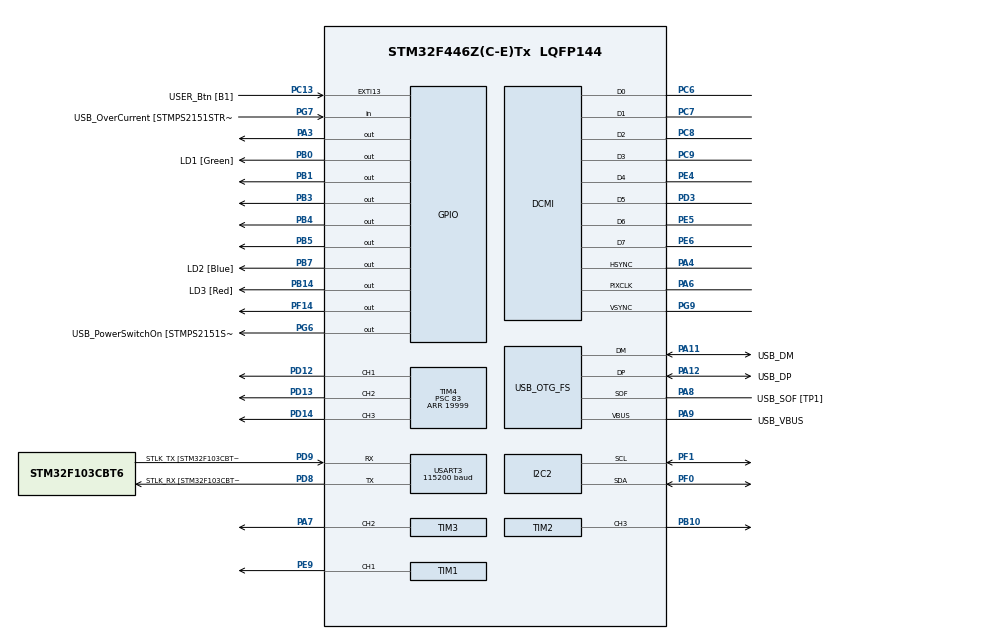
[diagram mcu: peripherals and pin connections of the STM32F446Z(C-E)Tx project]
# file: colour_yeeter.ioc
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DCMI.CaptureRate=DCMI_CR_ALL_FRAME
DCMI.PCKPolarity=DCMI_PCKPOLARITY_RISING
DCMI.VSPolarity=DCMI_VSPOLARITY_HIGH
Dma.DCMI.0.Direction=DMA_PERIPH_TO_MEMORY
Dma.DCMI.0.FIFOMode=DMA_FIFOMODE_ENABLE
Dma.DCMI.0.FIFOThreshold=DMA_FIFO_THRESHOLD_FULL
Dma.DCMI.0.Instance=DMA2_Stream1
Dma.DCMI.0.MemBurst=DMA_MBURST_SINGLE
Dma.DCMI.0.MemDataAlignment=DMA_MDATAALIGN_WORD
Dma.DCMI.0.MemInc=DMA_MINC_ENABLE
Dma.DCMI.0.Mode=DMA_CIRCULAR
Dma.DCMI.0.PeriphBurst=DMA_PBURST_SINGLE
Dma.DCMI.0.PeriphDataAlignment=DMA_PDATAALIGN_WORD
Dma.DCMI.0.PeriphInc=DMA_PINC_DISABLE
Dma.DCMI.0.Priority=DMA_PRIORITY_HIGH
Dma.Request0=DCMI
Dma.Request1=USART3_TX
Dma.USART3_TX.1.Direction=DMA_MEMORY_TO_PERIPH
Dma.USART3_TX.1.FIFOMode=DMA_FIFOMODE_ENABLE
Dma.USART3_TX.1.FIFOThreshold=DMA_FIFO_THRESHOLD_FULL
Dma.USART3_TX.1.Instance=DMA1_Stream3
Dma.USART3_TX.1.MemBurst=DMA_MBURST_SINGLE
Dma.USART3_TX.1.MemDataAlignment=DMA_MDATAALIGN_BYTE
Dma.USART3_TX.1.MemInc=DMA_MINC_ENABLE
Dma.USART3_TX.1.Mode=DMA_NORMAL
Dma.USART3_TX.1.PeriphBurst=DMA_PBURST_SINGLE
Dma.USART3_TX.1.PeriphDataAlignment=DMA_PDATAALIGN_BYTE
Dma.USART3_TX.1.PeriphInc=DMA_PINC_DISABLE
Dma.USART3_TX.1.Priority=DMA_PRIORITY_LOW
Mcu.Family=STM32F4
Mcu.Name=STM32F446Z(C-E)Tx
Mcu.Package=LQFP144
NVIC.DCMI_IRQn=true\:0\:0\:false\:false\:true\:true\:true\:true
NVIC.DMA1_Stream3_IRQn=true\:0\:0\:false\:false\:true\:false\:true\:true
NVIC.DMA2_Stream1_IRQn=true\:0\:0\:false\:false\:true\:false\:true\:true
NVIC.EXTI15_10_IRQn=true\:0\:0\:false\:false\:true\:true\:true\:true
NVIC.PriorityGroup=NVIC_PRIORITYGROUP_4
NVIC.TIM6_DAC_IRQn=true\:0\:0\:false\:false\:true\:true\:true\:true
NVIC.USART3_IRQn=true\:0\:0\:false\:false\:true\:true\:true\:true
PA10.GPIO_Label=USB_ID
PA10.Signal=USB_OTG_FS_ID
PA11.GPIO_Label=USB_DM
PA11.Mode=Device_Only
PA11.Signal=USB_OTG_FS_DM
PA12.GPIO_Label=USB_DP
PA12.Mode=Device_Only
PA12.Signal=USB_OTG_FS_DP
PA13.GPIO_Label=TMS
PA13.Mode=Serial_Wire
PA13.Signal=SYS_JTMS-SWDIO
PA14.GPIO_Label=TCK
PA14.Mode=Serial_Wire
PA14.Signal=SYS_JTCK-SWCLK
PA3.Signal=GPIO_Output
PA4.Mode=Slave_8_bits_External_Synchro
PA4.Signal=DCMI_HSYNC
PA6.Mode=Slave_8_bits_External_Synchro
PA6.Signal=DCMI_PIXCLK
PA7.Signal=S_TIM3_CH2
PA8.GPIO_Label=USB_SOF [TP1]
PA8.Mode=Activate_SOF_FS
PA8.Signal=USB_OTG_FS_SOF
PA9.GPIO_Label=USB_VBUS
PA9.Mode=Activate_VBUS
PA9.Signal=USB_OTG_FS_VBUS
PB0.GPIO_Label=LD1 [Green]
PB0.Signal=GPIO_Output
PB1.Signal=GPIO_Output
PB10.Signal=S_TIM2_CH3
PB14.GPIO_Label=LD3 [Red]
PB14.Signal=GPIO_Output
PB3.Signal=GPIO_Output
PB4.Signal=GPIO_Output
PB5.Signal=GPIO_Output
PB7.GPIO_Label=LD2 [Blue]
PB7.Signal=GPIO_Output
PC13.GPIO_Label=USER_Btn [B1]
PC13.Signal=GPXTI13
PC14-OSC32_IN.Mode=LSE-External-Oscillator
PC14-OSC32_IN.Signal=RCC_OSC32_IN
PC15-OSC32_OUT.Mode=LSE-External-Oscillator
PC15-OSC32_OUT.Signal=RCC_OSC32_OUT
PC6.Mode=Slave_8_bits_External_Synchro
PC6.Signal=DCMI_D0
PC7.Mode=Slave_8_bits_External_Synchro
PC7.Signal=DCMI_D1
PC8.Mode=Slave_8_bits_External_Synchro
PC8.Signal=DCMI_D2
PC9.Mode=Slave_8_bits_External_Synchro
PC9.Signal=DCMI_D3
PD12.Signal=S_TIM4_CH1
PD13.Signal=S_TIM4_CH2
PD14.Signal=S_TIM4_CH3
PD3.Mode=Slave_8_bits_External_Synchro
PD3.Signal=DCMI_D5
PD8.GPIO_Label=STLK_RX [STM32F103CBT6_PA3]
PD8.Mode=Asynchronous
PD8.Signal=USART3_TX
PD9.GPIO_Label=STLK_TX [STM32F103CBT6_PA2]
PD9.Mode=Asynchronous
PD9.Signal=USART3_RX
PE4.Mode=Slave_8_bits_External_Synchro
PE4.Signal=DCMI_D4
PE5.Mode=Slave_8_bits_External_Synchro
PE5.Signal=DCMI_D6
PE6.Mode=Slave_8_bits_External_Synchro
PE6.Signal=DCMI_D7
PE9.Signal=S_TIM1_CH1
PF0.Mode=I2C
PF0.Signal=I2C2_SDA
PF1.Mode=I2C
PF1.Signal=I2C2_SCL
PF14.Signal=GPIO_Output
PG6.GPIO_Label=USB_PowerSwitchOn [STMPS2151STR_EN]
PG6.Signal=GPIO_Output
PG7.GPIO_Label=USB_OverCurrent [STMPS2151STR_FAULT]
PG7.Signal=GPIO_Input
PG9.Mode=Slave_8_bits_External_Synchro
PG9.Signal=DCMI_VSYNC
PH0-OSC_IN.GPIO_Label=MCO [STM32F103CBT6_PA8]
PH0-OSC_IN.Mode=HSE-External-Clock-Source
PH0-OSC_IN.Signal=RCC_OSC_IN
PH1-OSC_OUT.Mode=HSE-External-Clock-Source
PH1-OSC_OUT.Signal=RCC_OSC_OUT
ProjectManager.HeapSize=0x200
ProjectManager.StackSize=0x400
ProjectManager.TargetToolchain=MDK-ARM V5.32
RCC.48MHZClocksFreq_Value=24000000
RCC.AHBFreq_Value=168000000
RCC.APB1CLKDivider=RCC_HCLK_DIV4
RCC.APB1Freq_Value=42000000
RCC.APB1TimFreq_Value=84000000
RCC.APB2CLKDivider=RCC_HCLK_DIV2
RCC.APB2Freq_Value=84000000
RCC.APB2TimFreq_Value=168000000
RCC.CortexFreq_Value=168000000
RCC.HCLKFreq_Value=168000000
RCC.HSE_VALUE=8000000
RCC.HSI_VALUE=16000000
RCC.PLLM=4
RCC.PLLMUL=RCC_PLL_MUL9
RCC.PLLN=168
RCC.PLLQ=7
RCC.PRESCALERUSB=RCC_USBCLKSOURCE_PLL_DIV1_5
RCC.SYSCLKFreq_VALUE=168000000
RCC.SYSCLKSource=RCC_SYSCLKSOURCE_PLLCLK
RCC.SYSCLKSourceVirtual=RCC_SYSCLKSOURCE_PLLCLK
RCC.USBFreq_Value=48000000
RCC.VCOOutputFreq_Value=336000000
SH.S_TIM1_CH1.0=TIM1_CH1,PWM Generation1 CH1
SH.S_TIM2_CH3.0=TIM2_CH3,PWM Generation3 CH3
SH.S_TIM3_CH2.0=TIM3_CH2,PWM Generation2 CH2
SH.S_TIM4_CH1.0=TIM4_CH1,PWM Generation1 CH1
SH.S_TIM4_CH2.0=TIM4_CH2,PWM Generation2 CH2
SH.S_TIM4_CH3.0=TIM4_CH3,PWM Generation3 CH3
TIM1.AutoReloadPreload=TIM_AUTORELOAD_PRELOAD_ENABLE
TIM1.Channel-PWM\ Generation1\ CH1=TIM_CHANNEL_1
TIM1.Period=20
TIM1.Pulse-PWM\ Generation1\ CH1=10
TIM2.Channel-PWM\ Generation3\ CH3=TIM_CHANNEL_3
TIM2.Period=1999
TIM2.Prescaler=83
TIM3.Channel-PWM\ Generation2\ CH2=TIM_CHANNEL_2
TIM3.Period=1999
TIM3.Prescaler=83
TIM4.Channel-PWM\ Generation1\ CH1=TIM_CHANNEL_1
TIM4.Channel-PWM\ Generation2\ CH2=TIM_CHANNEL_2
TIM4.Channel-PWM\ Generation3\ CH3=TIM_CHANNEL_3
TIM4.Period=19999
TIM4.Prescaler=83
USART3.BaudRate=115200
USART3.Mode=MODE_TX_RX
USART3.VirtualMode=VM_ASYNC
USB_OTG_FS.VirtualMode=Device_Only
VP_TIM6_VS_ClockSourceINT.Mode=Enable_Timer
board=NUCLEO-F446ZE

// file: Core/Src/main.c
/* USER CODE BEGIN Header */
/**
  ******************************************************************************
  * @file           : main.c
  * @brief          : Main program body
  ******************************************************************************
  * @attention
  *
  * Copyright (c) 2023 STMicroelectronics.
  * All rights reserved.
  *
  * This software is licensed under terms that can be found in the LICENSE file
  * in the root directory of this software component.
  * If no LICENSE file comes with this software, it is provided AS-IS.
  *
  ******************************************************************************
  */
/* USER CODE END Header */
#include <string.h>
#include <stdio.h>
/* USER CODE BEGIN Includes */
#include "main.h"
#include "config.h"
#include "ov7670.h"
/* USER CODE END Includes */

/* USER CODE BEGIN PTD */
enum {
    COLOUR_UNKNOWN = 1,
		COLOUR_RED,
		COLOUR_BLUE,
		COLOUR_GREEN
};
/* USER CODE END PTD */

/* USER CODE BEGIN PD */
#define CENTER_SIZE 60
/* USER CODE END PD */

/* USER CODE BEGIN PV */
uint16_t snapshot_buff[IMG_ROWS * IMG_COLS];
char msg[100];
uint8_t dma_flag = 0;
uint16_t detected_colour = COLOUR_UNKNOWN;
/* USER CODE END PV */

/* USER CODE BEGIN PFP */
void get_center_color(void);
void move_to_colour(uint16_t duration);

/* USER CODE END PFP */

int main(void)
{

  /* MCU Configuration--------------------------------------------------------*/

  /* Reset of all peripherals, Initializes the Flash interface and the Systick. */
  HAL_Init();

  /* Configure the system clock */
  SystemClock_Config();

  /* Initialize all configured peripherals */
  MX_GPIO_Init();
  MX_DMA_Init();
  MX_DCMI_Init();
  MX_USART3_UART_Init();
  MX_USB_OTG_FS_PCD_Init();
  MX_I2C2_Init();
  MX_TIM1_Init();
  MX_TIM6_Init();
  MX_TIM2_Init();
  MX_TIM3_Init();
  MX_TIM4_Init();
  /* USER CODE BEGIN 2 */
	HAL_TIM_PWM_Start(&htim1, TIM_CHANNEL_1);
	ov7670_init();
	HAL_Delay(100);

	// we are using timer 2 channel 3 for setting the
  HAL_TIM_PWM_Start(&htim2, TIM_CHANNEL_3); //PB10 TIM2 CH3
	HAL_TIM_PWM_Start(&htim3, TIM_CHANNEL_2); //PA7 TIM3 CH2

	HAL_TIM_PWM_Start(&htim4, TIM_CHANNEL_1); //PD12 TIM4 CH1
	HAL_TIM_PWM_Start(&htim4, TIM_CHANNEL_2); //PD13 TIM4 CH2
	HAL_TIM_PWM_Start(&htim4, TIM_CHANNEL_3); //PD14 TIM4 CH3
  /* USER CODE END 2 */

  /* Infinite loop */
  /* USER CODE BEGIN WHILE */
	  ov7670_capture(snapshot_buff);

  while (1)
  {

		HAL_TIM_PWM_Start(&htim2, TIM_CHANNEL_3); //PB10 TIM2 CH3
		HAL_TIM_PWM_Start(&htim3, TIM_CHANNEL_2); //PB10 TIM2 CH3
		/* USER CODE END 2 */

    // Set the rotation direction forwards
    HAL_GPIO_WritePin(GPIOB, GPIO_PIN_4, 1);
    HAL_GPIO_WritePin(GPIOB, GPIO_PIN_5, 0);

		HAL_GPIO_WritePin(GPIOB, GPIO_PIN_1, 1);
    HAL_GPIO_WritePin(GPIOB, GPIO_PIN_3, 0);

		// we set the timer max period to 2000 (max high speed)

		// to calculate speed and adjust to low, medium, high we can use the formula:

		// (% speed * MAX_PWM) / 100
		// Setting the speed to just 2000 for now
    __HAL_TIM_SET_COMPARE(&htim2,TIM_CHANNEL_3, 2000);
		__HAL_TIM_SET_COMPARE(&htim3,TIM_CHANNEL_2, 2000);

		//HAL_Delay(200);
		//__HAL_TIM_SET_COMPARE(&htim2,TIM_CHANNEL_3, 1000);
		//__HAL_TIM_SET_COMPARE(&htim3,TIM_CHANNEL_2, 1000);

		// stopping motors when object detected
		HAL_GPIO_WritePin(GPIOB, GPIO_PIN_4, 0);
		HAL_GPIO_WritePin(GPIOB, GPIO_PIN_5, 0);
		HAL_GPIO_WritePin(GPIOB, GPIO_PIN_1, 0);
		HAL_GPIO_WritePin(GPIOB, GPIO_PIN_3, 0);
		HAL_Delay(500);

		if (dma_flag) {
			HAL_DCMI_Suspend(&hdcmi);
			get_center_color();

			dma_flag = 0;
			HAL_DCMI_Resume(&hdcmi);
		}

		if (detected_colour != COLOUR_UNKNOWN) {
			// move to sorting zone depending on color
			switch (detected_colour) {
				case COLOUR_RED:
					sprintf(msg, "red");
					HAL_GPIO_TogglePin(LD3_GPIO_Port, LD3_Pin);
					HAL_Delay(200);
					HAL_GPIO_TogglePin(LD3_GPIO_Port, LD3_Pin);
					move_to_colour(1000); // move motors for longest time
					__HAL_TIM_SET_COMPARE(&htim4,TIM_CHANNEL_1, 2500);
					HAL_Delay(1105);
					__HAL_TIM_SET_COMPARE(&htim4,TIM_CHANNEL_1, 1500);
					HAL_Delay(200);
					__HAL_TIM_SET_COMPARE(&htim4,TIM_CHANNEL_1, 500);
					HAL_Delay(1100);
					__HAL_TIM_SET_COMPARE(&htim4,TIM_CHANNEL_1, 1500);
					break;
				case COLOUR_GREEN:
					sprintf(msg, "green");
					HAL_GPIO_TogglePin(LD1_GPIO_Port, LD1_Pin);
					HAL_Delay(200);
					HAL_GPIO_TogglePin(LD1_GPIO_Port, LD1_Pin);
					move_to_colour(400); // move motors for shortest time
					__HAL_TIM_SET_COMPARE(&htim4,TIM_CHANNEL_2, 2500);
					HAL_Delay(1000);
					__HAL_TIM_SET_COMPARE(&htim4,TIM_CHANNEL_2, 1500);
					HAL_Delay(200);
					__HAL_TIM_SET_COMPARE(&htim4,TIM_CHANNEL_2, 500);
					HAL_Delay(1000);
					__HAL_TIM_SET_COMPARE(&htim4,TIM_CHANNEL_2, 1500);
					break;
				case COLOUR_BLUE:
					sprintf(msg, "blue");
					HAL_GPIO_TogglePin(LD2_GPIO_Port, LD2_Pin);
					HAL_Delay(200);
					HAL_GPIO_TogglePin(LD2_GPIO_Port, LD2_Pin);
					move_to_colour(700); // move motors for shortest time
					__HAL_TIM_SET_COMPARE(&htim4,TIM_CHANNEL_3, 2500);
					HAL_Delay(1000);
					__HAL_TIM_SET_COMPARE(&htim4,TIM_CHANNEL_3, 1500);
					HAL_Delay(200);
					__HAL_TIM_SET_COMPARE(&htim4,TIM_CHANNEL_3, 500);
					HAL_Delay(1000);
					__HAL_TIM_SET_COMPARE(&htim4,TIM_CHANNEL_3, 1500);
					break;
				default:
					// idk, skip??
					move_to_colour(1200); // move motors for shortest time
					break;
			}
		}
    /* USER CODE END WHILE */
		HAL_Delay(1000);
  }
}

void move_to_colour(uint16_t duration) {
	  HAL_GPIO_WritePin(GPIOB, GPIO_PIN_4, 1);
    HAL_GPIO_WritePin(GPIOB, GPIO_PIN_5, 0);

		HAL_GPIO_WritePin(GPIOB, GPIO_PIN_1, 1);
    HAL_GPIO_WritePin(GPIOB, GPIO_PIN_3, 0);

		// we set the timer max period to 2000 (max high speed)

		// to calculate speed and adjust to low, medium, high we can use the formula:

		// (% speed * MAX_PWM) / 100
		// Setting the speed to just 2000 for now
    __HAL_TIM_SET_COMPARE(&htim2,TIM_CHANNEL_3, 1500);
		__HAL_TIM_SET_COMPARE(&htim3,TIM_CHANNEL_2, 1500);

		HAL_Delay(duration);
		//__HAL_TIM_SET_COMPARE(&htim2,TIM_CHANNEL_3, 1000);
		//__HAL_TIM_SET_COMPARE(&htim3,TIM_CHANNEL_2, 1000);

		// stopping motors when object detected
		HAL_GPIO_WritePin(GPIOB, GPIO_PIN_4, 0);
		HAL_GPIO_WritePin(GPIOB, GPIO_PIN_5, 0);
		HAL_GPIO_WritePin(GPIOB, GPIO_PIN_1, 0);
		HAL_GPIO_WritePin(GPIOB, GPIO_PIN_3, 0);
		// HAL_Delay(1000);
}

void get_center_color() {
  //int center = IMG_ROWS*CENTER_SIZE / 2;
  //int offset = CENTER_SIZE*CENTER_SIZE / 2;
  uint16_t *buffer = snapshot_buff;
  int start_index = (IMG_ROWS/2 - CENTER_SIZE/2) * IMG_COLS + (IMG_COLS/2 - CENTER_SIZE/2);
  //uint8_t colour;
  uint32_t red_sum = 0;
  uint32_t green_sum = 0;
  uint32_t blue_sum = 0;
  uint16_t count = 0;
  uint16_t red_count = 0;
  uint16_t green_count = 0;
  uint16_t blue_count = 0;
  uint16_t unknown_count = 0;

  //for (int i = center - offset; i < center + offset; i++) {
  //for (int i = IMG_ROWS*IMG_COLS/3 - 1; i < IMG_ROWS*IMG_COLS*2/3; i++) {
  for (int row = 0; row < CENTER_SIZE; row++) {
    int index = start_index + (row * IMG_COLS);
    for (int col = 0; col < CENTER_SIZE; col++) {
    uint16_t pixel = buffer[index+col];
    uint8_t r = (pixel >> 11) & 0x1F;  // 5 bits red
    uint8_t g = ((pixel >> 5) & 0x3F)/2;   // 6 bits green
    uint8_t b = pixel & 0x1F;          // 5 bits blue

    // Classify pixel based on color dominance
    if (r > 10 || g > 10 || b > 10) { // ignore skewed white / noise
      red_sum+=r;
      green_sum+=g;
      blue_sum+=b;
      count++;
      if (r > g+5 && b+5 < r)
        red_count++;
      else if (g > r+5 && b+5 < g)
        green_count++;
      else if (b > r+5 && g+5 < b)
        blue_count++;
      else
        unknown_count++;
    }
    else unknown_count++;
    }
  }
  // Average the RGB values
  uint8_t red_avg = red_sum / count;
  uint8_t green_avg = green_sum / count;
  uint8_t blue_avg = blue_sum / count;
  // Determine dominant color
  if (red_count > green_count+5 && blue_count+5 < red_count ) {
    // RED, 1
  //colour = 1;
	detected_colour = COLOUR_RED;
  }
  else if (green_count > red_count+5 && blue_count+5 < green_count) {
  // GREEN, 2
  //colour = 2;
	detected_colour = COLOUR_GREEN;
  }
  else if (blue_count > green_count+5 && red_count+5 < blue_count) {
    // BLUE, 3
  //colour = 3;
	detected_colour = COLOUR_BLUE;
  }
  else {
		sprintf(msg, "colour unknown");
		detected_colour = COLOUR_UNKNOWN;
	}

  HAL_UART_Transmit(&huart3, (uint8_t*)msg, strlen(msg), HAL_MAX_DELAY);
  sprintf(msg, " - R:%d avg, %d pixels, G:%d avg, %d pixels, B:%d avg, %d pixels\r\n", red_avg, red_count, green_avg, green_count, blue_avg, blue_count);
  HAL_UART_Transmit(&huart3, (uint8_t*)msg, strlen(msg), HAL_MAX_DELAY);
  //sprintf(msg, " R: %d, G: %d, B: %d\r\n", red_avg, green_avg, blue_avg); // give average rgb values
  //sprintf(msg, " R: %d, G: %d, B: %d\r\n", red_count, green_count, blue_count); // give number of rgb pixels
}
